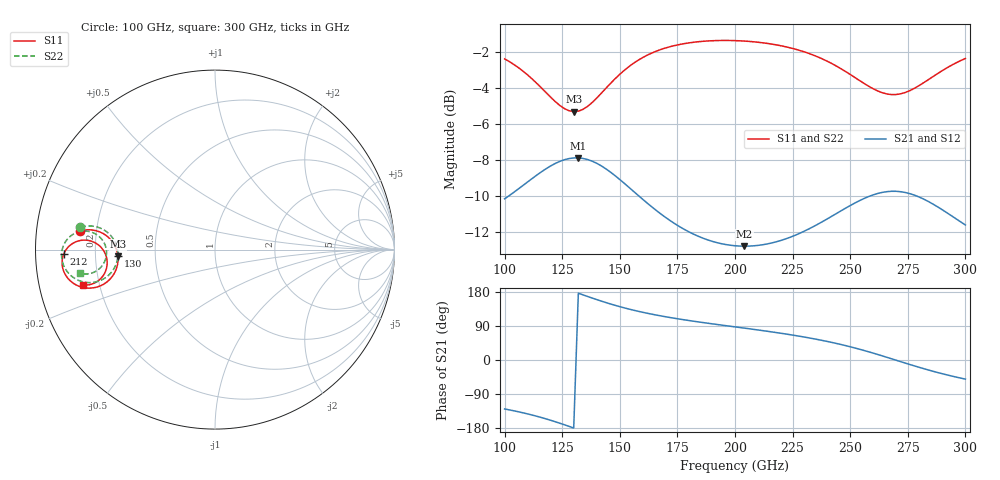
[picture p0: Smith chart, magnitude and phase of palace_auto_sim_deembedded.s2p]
! Created with skrf 1.11.0 (http://scikit-rf.org).
# GHz S DB R 50.0
!freq dBS11 angS11 dBS21 angS21 dBS12 angS12 dBS22 angS22
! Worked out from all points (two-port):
!   101 points, 100 GHz to 300 GHz, reference 50 ohm
!   highest |S21| = -7.89 dB at 132 GHz (marker M1); lowest = -12.8 dB at 204 GHz (marker M2)
!   |S21| within 3 dB of the highest: start of sweep to 166.6 GHz; 245.3 GHz to 291.3 GHz (45.99 GHz wide, 17.1 % of centre)
!   lowest |S11| = -5.3 dB at 130 GHz (marker M3), VSWR 3.37, Z = 14.9 - j1.55 ohm
!   |S11| at or under -10 dB: nowhere
!   |S22| runs from -5.3 to -1.4 dB; largest |S21 - S12| = 4e-14
!   S11 on the Smith chart (normalised r, x): 100 GHz: 0.14, +0.07; 130 GHz: 0.30, -0.03; 212 GHz: 0.09, -0.01; 300 GHz: 0.14, -0.13
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100  -2.38 172.3  -10.17 -129.2  -10.17 -129.2  -2.38 170.6
108  -3.07 171.0  -9.43 -139.4  -9.43 -139.4  -3.07 169.2
116  -4.00 171.8  -8.67 -151.9  -8.67 -151.9  -4.00 169.9
124  -4.98 176.9  -8.09 -166.9  -8.09 -166.9  -4.98 174.8
130  -5.32 -176.1  -7.90 -179.5  -7.90 -179.5  -5.33 -178.2
132  -5.29 -173.5  -7.89 176.3  -7.89 176.3  -5.30 -175.7
134  -5.19 -171.1  -7.92 172.0  -7.92 172.0  -5.20 -173.3
142  -4.29 -164.1  -8.34 155.4  -8.34 155.4  -4.30 -166.4
150  -3.24 -162.4  -9.10 140.8  -9.10 140.8  -3.24 -164.8
158  -2.45 -163.6  -9.99 128.5  -9.99 128.5  -2.46 -166.1
168  -1.85 -166.4  -11.03 116.2  -11.03 116.2  -1.85 -169.1
182  -1.46 -170.6  -12.14 102.4  -12.14 102.4  -1.46 -173.5
200  -1.36 -175.4  -12.79 87.4  -12.79 87.4  -1.37 -178.7
204  -1.39 -176.4  -12.81 84.2  -12.81 84.2  -1.39 -179.7
212  -1.48 -178.4  -12.73 77.6  -12.73 77.6  -1.49 178.2
234  -2.17 176.9  -11.72 56.2  -11.72 56.2  -2.17 173.1
244  -2.78 175.8  -10.99 43.7  -10.99 43.7  -2.78 171.8
252  -3.41 176.5  -10.41 31.8  -10.41 31.8  -3.41 172.4
268  -4.37 -174.8  -9.75 3.1  -9.75 3.1  -4.37 -179.2
276  -4.14 -168.9  -9.89 -12.1  -9.89 -12.1  -4.14 -173.5
284  -3.53 -165.3  -10.33 -26.5  -10.33 -26.5  -3.53 -170.0
300  -2.36 -165.0  -11.63 -50.4  -11.63 -50.4  -2.36 -169.9
